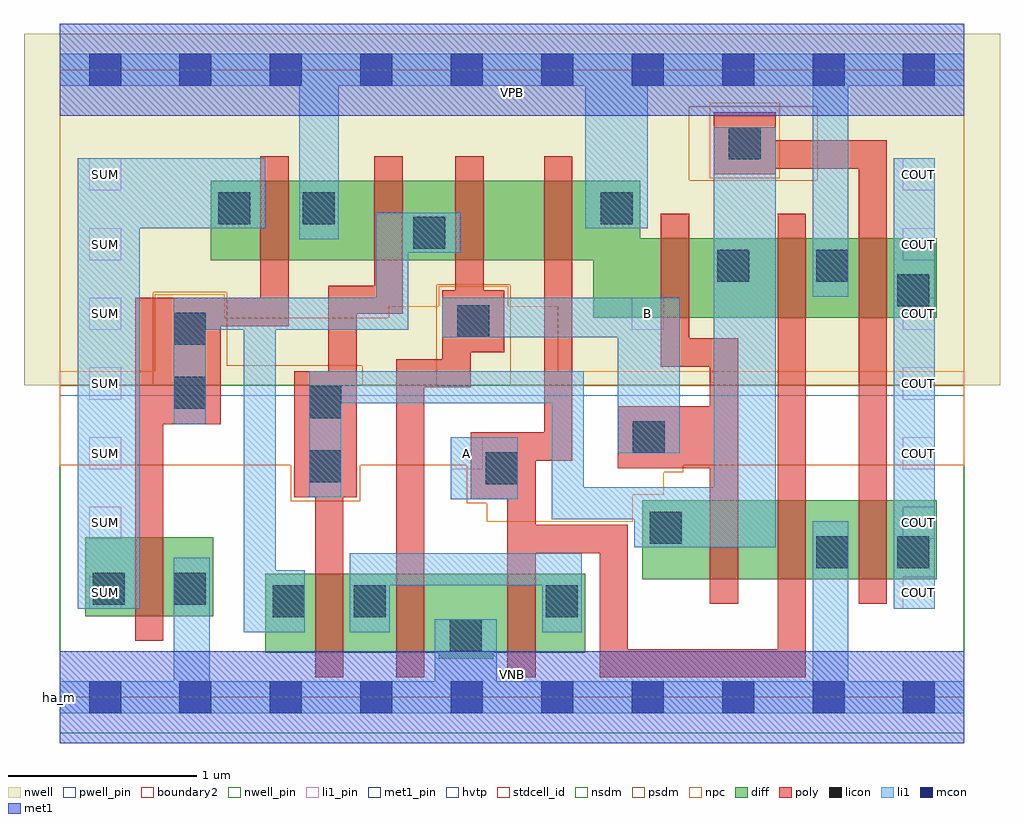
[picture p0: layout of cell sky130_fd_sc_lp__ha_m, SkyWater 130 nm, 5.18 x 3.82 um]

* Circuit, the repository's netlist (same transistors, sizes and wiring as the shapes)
* Copyright 2020 The SkyWater PDK Authors
*
* Licensed under the Apache License, Version 2.0 (the "License");
* you may not use this file except in compliance with the License.
* You may obtain a copy of the License at
*
*     https://www.apache.org/licenses/LICENSE-2.0
*
* Unless required by applicable law or agreed to in writing, software
* distributed under the License is distributed on an "AS IS" BASIS,
* WITHOUT WARRANTIES OR CONDITIONS OF ANY KIND, either express or implied.
* See the License for the specific language governing permissions and
* limitations under the License.
*
* SPDX-License-Identifier: Apache-2.0

.SUBCKT sky130_fd_sc_lp__ha_m A B VGND VNB VPB VPWR COUT SUM
*.PININFO A:I B:I VGND:I VNB:I VPB:I VPWR:I COUT:O SUM:O
MMIN2 COUT majb VGND VNB sky130_fd_pr__nfet_01v8 m=1 w=0.42U l=0.15U mult=1 sa=0.265
+ sb=0.265 sd=0.28 area=0.063 perim=1.14
MMIN3 SUM sumb VGND VNB sky130_fd_pr__nfet_01v8 m=1 w=0.42U l=0.15U mult=1 sa=0.265
+ sb=0.265 sd=0.28 area=0.063 perim=1.14
MMNnand0 VGND A sndNA VNB sky130_fd_pr__nfet_01v8 m=1 w=0.42U l=0.15U mult=1 sa=0.265
+ sb=0.265 sd=0.28 area=0.063 perim=1.14
MMNnand1 sndNA B majb VNB sky130_fd_pr__nfet_01v8 m=1 w=0.42U l=0.15U mult=1 sa=0.265
+ sb=0.265 sd=0.28 area=0.063 perim=1.14
MMNs1 sumb majb nint1 VNB sky130_fd_pr__nfet_01v8 m=1 w=0.42U l=0.15U mult=1 sa=0.265
+ sb=0.265 sd=0.28 area=0.063 perim=1.14
MMNs20 VGND A nint1 VNB sky130_fd_pr__nfet_01v8 m=1 w=0.42U l=0.15U mult=1 sa=0.265
+ sb=0.265 sd=0.28 area=0.063 perim=1.14
MMNs21 VGND B nint1 VNB sky130_fd_pr__nfet_01v8 m=1 w=0.42U l=0.15U mult=1 sa=0.265
+ sb=0.265 sd=0.28 area=0.063 perim=1.14
MMIP2 COUT majb VPWR VPB sky130_fd_pr__pfet_01v8_hvt m=1 w=0.42U l=0.15U mult=1
+ sa=0.265 sb=0.265 sd=0.28 area=0.063 perim=1.14
MMIP3 SUM sumb VPWR VPB sky130_fd_pr__pfet_01v8_hvt m=1 w=0.42U l=0.15U mult=1
+ sa=0.265 sb=0.265 sd=0.28 area=0.063 perim=1.14
MMPnand0 majb A VPWR VPB sky130_fd_pr__pfet_01v8_hvt m=1 w=0.42U l=0.15U mult=1
+ sa=0.265 sb=0.265 sd=0.28 area=0.063 perim=1.14
MMPnand1 majb B VPWR VPB sky130_fd_pr__pfet_01v8_hvt m=1 w=0.42U l=0.15U mult=1
+ sa=0.265 sb=0.265 sd=0.28 area=0.063 perim=1.14
MMPs1 VPWR majb sumb VPB sky130_fd_pr__pfet_01v8_hvt m=1 w=0.42U l=0.15U mult=1
+ sa=0.265 sb=0.265 sd=0.28 area=0.063 perim=1.14
MMPs20 VPWR A sndPA VPB sky130_fd_pr__pfet_01v8_hvt m=1 w=0.42U l=0.15U mult=1
+ sa=0.265 sb=0.265 sd=0.28 area=0.063 perim=1.14
MMPs21 sndPA B sumb VPB sky130_fd_pr__pfet_01v8_hvt m=1 w=0.42U l=0.15U mult=1
+ sa=0.265 sb=0.265 sd=0.28 area=0.063 perim=1.14
.ENDS sky130_fd_sc_lp__ha_m

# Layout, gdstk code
import gdstk
lib = gdstk.Library(unit=1e-6, precision=1e-09)
def R(c, l, rs):  # rectangles x0, y0, x1, y1
    for r in rs: c.add(gdstk.rectangle(r[:2], r[2:], *l))
def A(c, l, x, y, w, h, nx, ny, dx, dy):  # array of equal rectangles
    R(c, l, [(x+i*dx, y+j*dy, x+i*dx+w, y+j*dy+h) for i in range(nx) for j in range(ny)])
def P(c, l, *ps):  # polygons
    for p in ps: c.add(gdstk.Polygon(p, *l))
nwell_pin = (64, 16)
nwell = (64, 20)
diff = (65, 20)
poly = (66, 20)
licon = (66, 44)
li1_pin = (67, 16)
li1 = (67, 20)
mcon = (67, 44)
met1_pin = (68, 16)
met1 = (68, 20)
hvtp = (78, 44)
stdcell_id = (81, 4)
nsdm = (93, 44)
psdm = (94, 20)
npc = (95, 20)
pwell_pin = (122, 16)
boundary2 = (236, 0)

sky130_fd_sc_lp__ha_m = lib.new_cell('sky130_fd_sc_lp__ha_m')
R(sky130_fd_sc_lp__ha_m, nwell_pin, [(0,3.085,4.8,3.33)])
R(sky130_fd_sc_lp__ha_m, nwell, [(-0.19,1.655,4.99,3.52)])
R(sky130_fd_sc_lp__ha_m, diff, [(0.135,0.43,0.815,0.85), (3.09,0.625,4.655,1.045)])
P(sky130_fd_sc_lp__ha_m, diff, [(2.79,0.655),(1.09,0.655),(1.09,0.235),(2.01,0.235),(2.01,0.205),(2.3,0.205),(2.3,0.235),(2.79,0.235)],
  [(4.655,2.435),(3.08,2.435),(3.08,2.74),(0.8,2.74),(0.8,2.32),(2.83,2.32),(2.83,2.015),(4.655,2.015)])
P(sky130_fd_sc_lp__ha_m, poly, [(1.215,2.87),(1.065,2.87),(1.065,2.12),(0.4,2.12),(0.4,0.3),(0.55,0.3),(0.55,1.45),(0.855,1.45),(0.855,1.97),(1.215,1.97)],
  [(1.82,2.87),(1.67,2.87),(1.67,2.185),(1.425,2.185),(1.425,1.73),(1.245,1.73),(1.245,1.06),(1.355,1.06),(1.355,0.105),(1.505,0.105),(1.505,1.06),(1.575,1.06),(1.575,2.035),(1.82,2.035)],
  [(2.36,2.16),(2.25,2.16),(2.25,2.87),(2.1,2.87),(2.1,2.16),(2.03,2.16),(2.03,1.795),(1.785,1.795),(1.785,0.105),(1.935,0.105),(1.935,1.645),(2.18,1.645),(2.18,1.83),(2.36,1.83)],
  [(3.6,1.905),(3.34,1.905),(3.34,2.565),(3.19,2.565),(3.19,1.755),(3.45,1.755),(3.45,1.545),(2.96,1.545),(2.96,1.215),(3.45,1.215),(3.45,0.495),(3.6,0.495)],
  [(3.96,2.565),(3.81,2.565),(3.81,0.255),(3.015,0.255),(3.015,0.915),(2.525,0.915),(2.525,1.255),(2.72,1.255),(2.72,2.87),(2.57,2.87),(2.57,1.405),(2.18,1.405),(2.18,1.05),(2.375,1.05),(2.375,0.105),(2.525,0.105),(2.525,0.765),(2.865,0.765),(2.865,0.105),(3.96,0.105)],
  [(4.39,2.955),(3.8,2.955),(3.8,3.105),(3.47,3.105),(3.47,2.775),(3.8,2.775),(3.8,2.805),(4.24,2.805),(4.24,0.495),(4.39,0.495)])
R(sky130_fd_sc_lp__ha_m, licon, [(2.07,0.245,2.24,0.415), (1.13,0.425,1.3,0.595), (1.56,0.425,1.73,0.595), (2.58,0.425,2.75,0.595), (0.175,0.49,0.345,0.66), (0.605,0.49,0.775,0.66), (4.015,0.685,4.185,0.855), (4.445,0.685,4.615,0.855), (3.13,0.815,3.3,0.985), (2.26,1.13,2.43,1.3), (1.325,1.14,1.495,1.31), (3.04,1.295,3.21,1.465), (1.325,1.48,1.495,1.65), (0.605,1.53,0.775,1.7), (0.605,1.87,0.775,2.04), (2.11,1.91,2.28,2.08), (4.445,2.075,4.615,2.245), (3.49,2.205,3.66,2.375), (4.015,2.205,4.185,2.375), (1.875,2.38,2.045,2.55), (0.84,2.51,1.01,2.68), (1.29,2.51,1.46,2.68), (2.87,2.51,3.04,2.68), (3.55,2.855,3.72,3.025)])
A(sky130_fd_sc_lp__ha_m, li1_pin, 0.155, 0.47, 0.17, 0.17, 1, 7, 0, 0.37)
A(sky130_fd_sc_lp__ha_m, li1_pin, 4.475, 0.47, 0.17, 0.17, 1, 7, 0, 0.37)
R(sky130_fd_sc_lp__ha_m, li1_pin, [(2.075,1.21,2.245,1.38), (3.035,1.95,3.205,2.12)])
R(sky130_fd_sc_lp__ha_m, li1, [(4.425,0.47,4.645,2.86), (2.075,1.05,2.43,1.38)])
P(sky130_fd_sc_lp__ha_m, li1, [(3.995,2.125),(3.995,3.245),(3.12,3.245),(3.12,2.49),(2.79,2.49),(2.79,3.245),(1.48,3.245),(1.48,2.43),(1.27,2.43),(1.27,3.245),(0,3.245),(0,3.415),(4.8,3.415),(4.8,3.245),(4.185,3.245),(4.185,2.125)],
  [(1.99,0.085),(1.99,0.415),(2.32,0.415),(2.32,0.085),(3.995,0.085),(3.995,0.935),(4.185,0.935),(4.185,0.085),(4.8,0.085),(4.8,-0.085),(0,-0.085),(0,0.085),(0.605,0.085),(0.605,0.74),(0.795,0.74),(0.795,0.085)],
  [(0.605,1.45),(0.605,2.12),(1.68,2.12),(1.68,2.57),(2.125,2.57),(2.125,2.36),(1.85,2.36),(1.85,1.95),(1.145,1.95),(1.145,0.675),(1.3,0.675),(1.3,0.345),(0.975,0.345),(0.975,1.95),(0.775,1.95),(0.775,1.45)],
  [(3.29,2.12),(3.29,1.295),(2.96,1.295),(2.96,1.91),(2.03,1.91),(2.03,2.12)],
  [(3.47,1.115),(3.47,3.025),(3.8,3.025),(3.8,0.795),(3.05,0.795),(3.05,0.945),(2.61,0.945),(2.61,1.56),(1.495,1.56),(1.495,1.06),(1.325,1.06),(1.325,1.73),(2.78,1.73),(2.78,1.115)],
  [(0.095,0.47),(0.095,2.86),(1.09,2.86),(1.09,2.49),(0.425,2.49),(0.425,0.47)],
  [(2.56,0.595),(1.75,0.595),(1.75,0.345),(1.54,0.345),(1.54,0.765),(2.77,0.765),(2.77,0.345),(2.56,0.345)])
A(sky130_fd_sc_lp__ha_m, mcon, 0.155, -0.085, 0.17, 0.17, 10, 2, 0.48, 3.33)
R(sky130_fd_sc_lp__ha_m, met1_pin, [(0,0,4.8,0.245), (0,3.085,4.8,3.33)])
R(sky130_fd_sc_lp__ha_m, met1, [(0,-0.245,4.8,0.245), (0,3.085,4.8,3.575)])
R(sky130_fd_sc_lp__ha_m, hvtp, [(0,1.6,4.8,3.33)])
R(sky130_fd_sc_lp__ha_m, stdcell_id, [(0,0,4.8,3.33)])
R(sky130_fd_sc_lp__ha_m, nsdm, [(0,-0.19,4.8,1.655)])
P(sky130_fd_sc_lp__ha_m, psdm, [(4.8,3.52),(4.02,3.52),(4.02,2.745),(3.34,2.745),(3.34,3.135),(4.02,3.135),(4.02,3.52),(0,3.52),(0,1.655),(0.495,1.655),(0.495,2.15),(0.885,2.15),(0.885,1.76),(1.605,1.76),(1.605,1.655),(2,1.655),(2,2.19),(2.39,2.19),(2.39,1.655),(4.8,1.655)])
R(sky130_fd_sc_lp__ha_m, npc, [(3.45,2.755,3.82,3.155)])
P(sky130_fd_sc_lp__ha_m, npc, [(4.8,1.73),(2.645,1.73),(2.645,2.075),(2.38,2.075),(2.38,2.18),(2.01,2.18),(2.01,2.075),(1.745,2.075),(1.745,2.015),(0.875,2.015),(0.875,2.14),(0.505,2.14),(0.505,1.73),(0,1.73),(0,1.23),(1.225,1.23),(1.225,1.04),(1.595,1.04),(1.595,1.23),(2.16,1.23),(2.16,1.03),(2.265,1.03),(2.265,0.93),(3.04,0.93),(3.04,1.075),(3.205,1.075),(3.205,1.195),(3.31,1.195),(3.31,1.23),(4.8,1.23)])
R(sky130_fd_sc_lp__ha_m, pwell_pin, [(0,0,4.8,0.245)])
R(sky130_fd_sc_lp__ha_m, boundary2, [(0,0,4.8,3.33)])
sky130_fd_sc_lp__ha_m.add(gdstk.Label('VNB', (2.4,0.123), layer=64, texttype=59))
sky130_fd_sc_lp__ha_m.add(gdstk.Label('VPB', (2.4,3.208), layer=64, texttype=5))
sky130_fd_sc_lp__ha_m.add(gdstk.Label('ha_m', (0,0), layer=83, texttype=44))
sky130_fd_sc_lp__ha_m.add(gdstk.Label('VPWR', (2.4,3.208), layer=68, texttype=5))
sky130_fd_sc_lp__ha_m.add(gdstk.Label('VGND', (2.4,0.123), layer=68, texttype=5))
sky130_fd_sc_lp__ha_m.add(gdstk.Label('A', (2.16,1.295), layer=67, texttype=5))
sky130_fd_sc_lp__ha_m.add(gdstk.Label('COUT', (4.56,0.555), layer=67, texttype=5))
sky130_fd_sc_lp__ha_m.add(gdstk.Label('COUT', (4.56,0.925), layer=67, texttype=5))
sky130_fd_sc_lp__ha_m.add(gdstk.Label('COUT', (4.56,1.295), layer=67, texttype=5))
sky130_fd_sc_lp__ha_m.add(gdstk.Label('COUT', (4.56,1.665), layer=67, texttype=5))
sky130_fd_sc_lp__ha_m.add(gdstk.Label('COUT', (4.56,2.035), layer=67, texttype=5))
sky130_fd_sc_lp__ha_m.add(gdstk.Label('COUT', (4.56,2.405), layer=67, texttype=5))
sky130_fd_sc_lp__ha_m.add(gdstk.Label('COUT', (4.56,2.775), layer=67, texttype=5))
sky130_fd_sc_lp__ha_m.add(gdstk.Label('SUM', (0.24,0.555), layer=67, texttype=5))
sky130_fd_sc_lp__ha_m.add(gdstk.Label('SUM', (0.24,0.925), layer=67, texttype=5))
sky130_fd_sc_lp__ha_m.add(gdstk.Label('SUM', (0.24,1.295), layer=67, texttype=5))
sky130_fd_sc_lp__ha_m.add(gdstk.Label('SUM', (0.24,1.665), layer=67, texttype=5))
sky130_fd_sc_lp__ha_m.add(gdstk.Label('SUM', (0.24,2.035), layer=67, texttype=5))
sky130_fd_sc_lp__ha_m.add(gdstk.Label('SUM', (0.24,2.405), layer=67, texttype=5))
sky130_fd_sc_lp__ha_m.add(gdstk.Label('SUM', (0.24,2.775), layer=67, texttype=5))
sky130_fd_sc_lp__ha_m.add(gdstk.Label('B', (3.12,2.035), layer=67, texttype=5))

lib.write_gds('sky130_fd_sc_lp__ha_m.gds')
